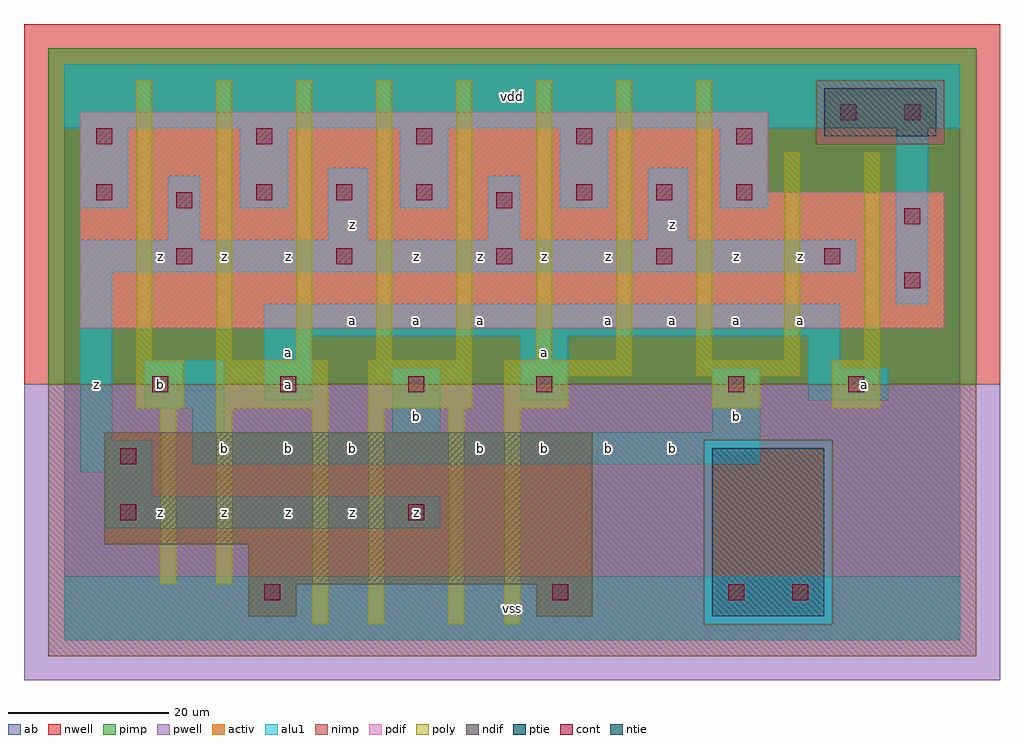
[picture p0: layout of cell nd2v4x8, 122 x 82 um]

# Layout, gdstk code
import gdstk
lib = gdstk.Library(unit=1e-6, precision=1e-09)
def R(c, l, rs):  # rectangles x0, y0, x1, y1
    for r in rs: c.add(gdstk.rectangle(r[:2], r[2:], *l))
def A(c, l, x, y, w, h, nx, ny, dx, dy):  # array of equal rectangles
    R(c, l, [(x+i*dx, y+j*dy, x+i*dx+w, y+j*dy+h) for i in range(nx) for j in range(ny)])
ndif = (3, 0)
pdif = (4, 0)
ntie = (5, 0)
ptie = (6, 0)
cont = (25, 0)
pwell = (41, 0)
nwell = (42, 0)
activ = (43, 0)
pimp = (44, 0)
nimp = (45, 0)
poly = (46, 0)
alu1 = (49, 0)
ab = (63, 0)

nd2v4x8 = lib.new_cell('nd2v4x8')
R(nd2v4x8, ndif, [(23,3,29,7), (59,3,66,7), (23,7,66,12), (5,12,66,26)])
R(nd2v4x8, pdif, [(2,39,110,56), (2,56,88,66)])
R(nd2v4x8, ntie, [(95,63,109,69)])
R(nd2v4x8, ptie, [(81,3,95,24)])
A(nd2v4x8, cont, 11, 31, 2, 2, 4, 1, 16, 0)
A(nd2v4x8, cont, 14, 47, 2, 2, 4, 1, 20, 0)
A(nd2v4x8, cont, 24, 55, 2, 2, 3, 1, 10, 0)
A(nd2v4x8, cont, 64, 55, 2, 2, 3, 1, 10, 0)
A(nd2v4x8, cont, 4, 62, 2, 2, 5, 1, 20, 0)
R(nd2v4x8, cont, [(25,5,27,7), (61,5,63,7), (83,5,85,7), (91,5,93,7), (7,15,9,17), (43,15,45,17), (7,22,9,24), (83,31,85,33), (98,31,100,33), (105,44,107,46), (95,47,97,49), (105,52,107,54), (14,54,16,56), (54,54,56,56), (4,55,6,57), (97,65,99,67), (105,65,107,67)])
R(nd2v4x8, pwell, [(-5,-5,117,32)])
R(nd2v4x8, nwell, [(-5,32,117,77)])
R(nd2v4x8, activ, [(23,3,29,7), (59,3,66,7), (81,3,95,24), (23,7,66,12), (5,12,66,26), (2,39,110,56), (2,56,88,66), (95,63,109,69)])
R(nd2v4x8, pimp, [(80,2,96,25), (-2,32,114,62), (-2,62,94,70), (110,62,114,70), (-2,70,114,74)])
R(nd2v4x8, nimp, [(-2,-2,114,2), (-2,2,80,25), (96,2,114,25), (-2,25,114,32), (94,62,110,70)])
A(nd2v4x8, poly, 9, 35, 2, 35, 8, 1, 10, 0)
R(nd2v4x8, poly, [(31,2,33,29), (38,2,40,29), (48,2,50,29), (55,2,57,29), (12,7,14,29), (19,7,21,29), (9,29,15,35), (19,29,33,35), (38,29,51,35), (55,29,63,33), (81,29,87,33), (96,29,102,35), (55,33,71,35), (79,33,92,35), (90,35,92,61), (100,35,102,61)])
A(nd2v4x8, alu1, 2, 54, 6, 10, 5, 1, 20, 0)
R(nd2v4x8, alu1, [(0,0,112,8), (5,14,47,18), (5,18,11,21), (2,21,11,25), (16,22,87,26), (2,25,6,46), (16,26,20,29), (41,26,47,34), (81,26,87,34), (10,29,20,35), (25,30,31,38), (57,30,63,38), (93,30,103,34), (93,34,97,38), (25,38,97,42), (104,42,108,64), (2,46,99,50), (13,50,17,58), (33,50,38,59), (53,50,57,58), (73,50,78,59), (0,64,112,72)])
R(nd2v4x8, ab, [(0,0,112,72)])
nd2v4x8.add(gdstk.Label('z', (12,16), layer=49, texttype=0))
nd2v4x8.add(gdstk.Label('b', (12,32), layer=49, texttype=0))
nd2v4x8.add(gdstk.Label('z', (4,32), layer=49, texttype=0))
nd2v4x8.add(gdstk.Label('z', (12,48), layer=49, texttype=0))
nd2v4x8.add(gdstk.Label('z', (28,16), layer=49, texttype=0))
nd2v4x8.add(gdstk.Label('z', (36,16), layer=49, texttype=0))
nd2v4x8.add(gdstk.Label('z', (20,16), layer=49, texttype=0))
nd2v4x8.add(gdstk.Label('b', (20,24), layer=49, texttype=0))
nd2v4x8.add(gdstk.Label('b', (28,24), layer=49, texttype=0))
nd2v4x8.add(gdstk.Label('b', (36,24), layer=49, texttype=0))
nd2v4x8.add(gdstk.Label('a', (28,32), layer=49, texttype=0))
nd2v4x8.add(gdstk.Label('a', (36,40), layer=49, texttype=0))
nd2v4x8.add(gdstk.Label('a', (28,36), layer=49, texttype=0))
nd2v4x8.add(gdstk.Label('z', (20,48), layer=49, texttype=0))
nd2v4x8.add(gdstk.Label('z', (36,52), layer=49, texttype=0))
nd2v4x8.add(gdstk.Label('z', (28,48), layer=49, texttype=0))
nd2v4x8.add(gdstk.Label('vss', (56,4), layer=49, texttype=0))
nd2v4x8.add(gdstk.Label('z', (44,16), layer=49, texttype=0))
nd2v4x8.add(gdstk.Label('b', (52,24), layer=49, texttype=0))
nd2v4x8.add(gdstk.Label('b', (60,24), layer=49, texttype=0))
nd2v4x8.add(gdstk.Label('b', (44,28), layer=49, texttype=0))
nd2v4x8.add(gdstk.Label('a', (44,40), layer=49, texttype=0))
nd2v4x8.add(gdstk.Label('a', (52,40), layer=49, texttype=0))
nd2v4x8.add(gdstk.Label('a', (60,36), layer=49, texttype=0))
nd2v4x8.add(gdstk.Label('z', (44,48), layer=49, texttype=0))
nd2v4x8.add(gdstk.Label('z', (52,48), layer=49, texttype=0))
nd2v4x8.add(gdstk.Label('z', (60,48), layer=49, texttype=0))
nd2v4x8.add(gdstk.Label('vdd', (56,68), layer=49, texttype=0))
nd2v4x8.add(gdstk.Label('b', (68,24), layer=49, texttype=0))
nd2v4x8.add(gdstk.Label('b', (76,24), layer=49, texttype=0))
nd2v4x8.add(gdstk.Label('b', (84,28), layer=49, texttype=0))
nd2v4x8.add(gdstk.Label('a', (68,40), layer=49, texttype=0))
nd2v4x8.add(gdstk.Label('a', (76,40), layer=49, texttype=0))
nd2v4x8.add(gdstk.Label('a', (84,40), layer=49, texttype=0))
nd2v4x8.add(gdstk.Label('z', (68,48), layer=49, texttype=0))
nd2v4x8.add(gdstk.Label('z', (76,52), layer=49, texttype=0))
nd2v4x8.add(gdstk.Label('z', (84,48), layer=49, texttype=0))
nd2v4x8.add(gdstk.Label('a', (100,32), layer=49, texttype=0))
nd2v4x8.add(gdstk.Label('a', (92,40), layer=49, texttype=0))
nd2v4x8.add(gdstk.Label('z', (92,48), layer=49, texttype=0))

lib.write_gds('nd2v4x8.gds')
